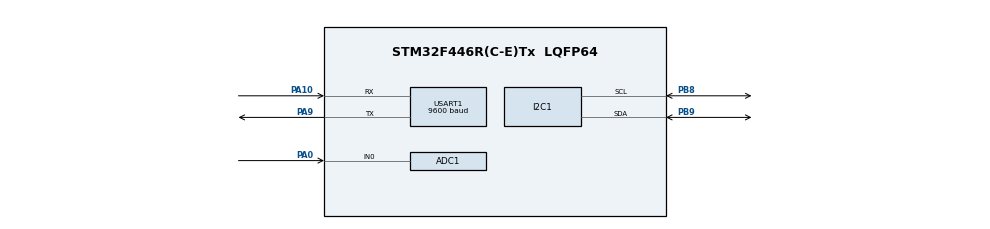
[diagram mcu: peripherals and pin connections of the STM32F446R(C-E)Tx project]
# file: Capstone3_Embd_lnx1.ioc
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ADC1.Channel-0\#ChannelRegularConversion=ADC_CHANNEL_0
ADC1.NbrOfConversionFlag=1
ADC1.Rank-0\#ChannelRegularConversion=1
ADC1.SamplingTime-0\#ChannelRegularConversion=ADC_SAMPLETIME_3CYCLES
ADC1.master=1
Mcu.Family=STM32F4
Mcu.Name=STM32F446R(C-E)Tx
Mcu.Package=LQFP64
NVIC.PriorityGroup=NVIC_PRIORITYGROUP_4
PA0-WKUP.Signal=ADCx_IN0
PA10.Mode=Asynchronous
PA10.Signal=USART1_RX
PA13.Mode=Serial_Wire
PA13.Signal=SYS_JTMS-SWDIO
PA14.Mode=Serial_Wire
PA14.Signal=SYS_JTCK-SWCLK
PA9.Mode=Asynchronous
PA9.Signal=USART1_TX
PB8.GPIO_Pu=GPIO_PULLUP
PB8.Mode=I2C
PB8.Signal=I2C1_SCL
PB9.GPIO_Pu=GPIO_PULLUP
PB9.Mode=I2C
PB9.Signal=I2C1_SDA
ProjectManager.HeapSize=0x200
ProjectManager.StackSize=0x400
ProjectManager.TargetToolchain=STM32CubeIDE
RCC.CortexFreq_Value=16000000
RCC.USBFreq_Value=96000000
RCC.VCOOutputFreq_Value=192000000
SH.ADCx_IN0.0=ADC1_IN0,IN0
USART1.BaudRate=9600
USART1.VirtualMode=VM_ASYNC
board=custom

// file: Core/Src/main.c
/* USER CODE BEGIN Header */
/**
  ******************************************************************************
  * @file           : main.c
  * @brief          : Main program body
  ******************************************************************************
  * @attention
  *
  * Copyright (c) 2026 STMicroelectronics.
  * All rights reserved.
  *
  * This software is licensed under terms that can be found in the LICENSE file
  * in the root directory of this software component.
  * If no LICENSE file comes with this software, it is provided AS-IS.
  *
  ******************************************************************************
  */
/* USER CODE END Header */
#include "main.h"

/* USER CODE BEGIN Includes */
#include <stdio.h>
#include <math.h>
#include <string.h>

/* USER CODE END Includes */

ADC_HandleTypeDef hadc1;

I2C_HandleTypeDef hi2c1;

UART_HandleTypeDef huart1;

/* USER CODE BEGIN PV */
#define INA219_ADDR (0x40 << 1)   // HAL uses 8-bit address

/* USER CODE END PV */

void SystemClock_Config(void);
static void MX_GPIO_Init(void);
static void MX_ADC1_Init(void);
static void MX_I2C1_Init(void);
static void MX_USART1_UART_Init(void);
/* USER CODE BEGIN PFP */

float Read_Temperature(void);
void INA219_Init(void);
void INA219_Read(float *voltage, float *current);

/* USER CODE END PFP */

int main(void)
{

  /* MCU Configuration--------------------------------------------------------*/

  /* Reset of all peripherals, Initializes the Flash interface and the Systick. */
  HAL_Init();

  /* Configure the system clock */
  SystemClock_Config();

  /* Initialize all configured peripherals */
  MX_GPIO_Init();
  MX_ADC1_Init();
  MX_I2C1_Init();
  MX_USART1_UART_Init();
  /* USER CODE BEGIN 2 */

  INA219_Init();

  char uart_buf[100];

  /* USER CODE END 2 */

  /* Infinite loop */
  while (1)
  {

    /* USER CODE BEGIN 3 */

	    float temp = Read_Temperature();

	    float voltage = 0, current = 0;
	    INA219_Read(&voltage, &current);

	    /* Format string */
	    sprintf(uart_buf, "TEMP:%.1f,CURR:%.2f,VOLT:%.2f\r\n",
	            temp, current, voltage);

	    /* Send via UART */
	    HAL_UART_Transmit(&huart1, (uint8_t *)uart_buf,
	                      strlen(uart_buf), HAL_MAX_DELAY);

	    HAL_Delay(1000);
  }
  /* USER CODE END 3 */
}

void SystemClock_Config(void)
{
  RCC_OscInitTypeDef RCC_OscInitStruct = {0};
  RCC_ClkInitTypeDef RCC_ClkInitStruct = {0};

  /** Configure the main internal regulator output voltage
  */
  __HAL_RCC_PWR_CLK_ENABLE();
  __HAL_PWR_VOLTAGESCALING_CONFIG(PWR_REGULATOR_VOLTAGE_SCALE3);

  /** Initializes the RCC Oscillators according to the specified parameters
  * in the RCC_OscInitTypeDef structure.
  */
  RCC_OscInitStruct.OscillatorType = RCC_OSCILLATORTYPE_HSI;
  RCC_OscInitStruct.HSIState = RCC_HSI_ON;
  RCC_OscInitStruct.HSICalibrationValue = RCC_HSICALIBRATION_DEFAULT;
  RCC_OscInitStruct.PLL.PLLState = RCC_PLL_NONE;
  if (HAL_RCC_OscConfig(&RCC_OscInitStruct) != HAL_OK)
  {
    Error_Handler();
  }

  /** Initializes the CPU, AHB and APB buses clocks
  */
  RCC_ClkInitStruct.ClockType = RCC_CLOCKTYPE_HCLK|RCC_CLOCKTYPE_SYSCLK
                              |RCC_CLOCKTYPE_PCLK1|RCC_CLOCKTYPE_PCLK2;
  RCC_ClkInitStruct.SYSCLKSource = RCC_SYSCLKSOURCE_HSI;
  RCC_ClkInitStruct.AHBCLKDivider = RCC_SYSCLK_DIV1;
  RCC_ClkInitStruct.APB1CLKDivider = RCC_HCLK_DIV1;
  RCC_ClkInitStruct.APB2CLKDivider = RCC_HCLK_DIV1;

  if (HAL_RCC_ClockConfig(&RCC_ClkInitStruct, FLASH_LATENCY_0) != HAL_OK)
  {
    Error_Handler();
  }
}

static void MX_ADC1_Init(void)
{

  ADC_ChannelConfTypeDef sConfig = {0};

  /** Configure the global features of the ADC (Clock, Resolution, Data Alignment and number of conversion)
  */
  hadc1.Instance = ADC1;
  hadc1.Init.ClockPrescaler = ADC_CLOCK_SYNC_PCLK_DIV2;
  hadc1.Init.Resolution = ADC_RESOLUTION_12B;
  hadc1.Init.ScanConvMode = DISABLE;
  hadc1.Init.ContinuousConvMode = DISABLE;
  hadc1.Init.DiscontinuousConvMode = DISABLE;
  hadc1.Init.ExternalTrigConvEdge = ADC_EXTERNALTRIGCONVEDGE_NONE;
  hadc1.Init.ExternalTrigConv = ADC_SOFTWARE_START;
  hadc1.Init.DataAlign = ADC_DATAALIGN_RIGHT;
  hadc1.Init.NbrOfConversion = 1;
  hadc1.Init.DMAContinuousRequests = DISABLE;
  hadc1.Init.EOCSelection = ADC_EOC_SINGLE_CONV;
  if (HAL_ADC_Init(&hadc1) != HAL_OK)
  {
    Error_Handler();
  }

  /** Configure for the selected ADC regular channel its corresponding rank in the sequencer and its sample time.
  */
  sConfig.Channel = ADC_CHANNEL_0;
  sConfig.Rank = 1;
  sConfig.SamplingTime = ADC_SAMPLETIME_3CYCLES;
  if (HAL_ADC_ConfigChannel(&hadc1, &sConfig) != HAL_OK)
  {
    Error_Handler();
  }

}

static void MX_I2C1_Init(void)
{

  hi2c1.Instance = I2C1;
  hi2c1.Init.ClockSpeed = 100000;
  hi2c1.Init.DutyCycle = I2C_DUTYCYCLE_2;
  hi2c1.Init.OwnAddress1 = 0;
  hi2c1.Init.AddressingMode = I2C_ADDRESSINGMODE_7BIT;
  hi2c1.Init.DualAddressMode = I2C_DUALADDRESS_DISABLE;
  hi2c1.Init.OwnAddress2 = 0;
  hi2c1.Init.GeneralCallMode = I2C_GENERALCALL_DISABLE;
  hi2c1.Init.NoStretchMode = I2C_NOSTRETCH_DISABLE;
  if (HAL_I2C_Init(&hi2c1) != HAL_OK)
  {
    Error_Handler();
  }

}

static void MX_USART1_UART_Init(void)
{

  huart1.Instance = USART1;
  huart1.Init.BaudRate = 9600;
  huart1.Init.WordLength = UART_WORDLENGTH_8B;
  huart1.Init.StopBits = UART_STOPBITS_1;
  huart1.Init.Parity = UART_PARITY_NONE;
  huart1.Init.Mode = UART_MODE_TX_RX;
  huart1.Init.HwFlowCtl = UART_HWCONTROL_NONE;
  huart1.Init.OverSampling = UART_OVERSAMPLING_16;
  if (HAL_UART_Init(&huart1) != HAL_OK)
  {
    Error_Handler();
  }

}

static void MX_GPIO_Init(void)
{

  /* GPIO Ports Clock Enable */
  __HAL_RCC_GPIOA_CLK_ENABLE();
  __HAL_RCC_GPIOB_CLK_ENABLE();

}

/* USER CODE BEGIN 4 */

/* ================= TEMPERATURE FUNCTION ================= */
float Read_Temperature(void)
{
    uint32_t adc_val = 0;

    HAL_ADC_Start(&hadc1);
    HAL_ADC_PollForConversion(&hadc1, HAL_MAX_DELAY);
    adc_val = HAL_ADC_GetValue(&hadc1);
    HAL_ADC_Stop(&hadc1);

    /* Convert ADC to voltage */
    float V = (adc_val / 4095.0f) * 3.3f;

    /* Calculate NTC resistance */
    float R_ntc = 10000.0f * V / (3.3f - V);

    /* Steinhart-Hart Beta equation */
    float T_K = 1.0f / ( (1.0f/298.15f) +
              (1.0f/3950.0f) * log(R_ntc/10000.0f) );// T= 1/ (1/T0) + (1/b)*ln(r/r0)

    return (T_K - 273.15f);
}

/* ================= INA219 INIT ================= */
void INA219_Init(void)
{
    uint8_t config[3];

    config[0] = 0x00; // Config register
    config[1] = 0x39; // 32V, 2A (approx config)
    config[2] = 0x9F;

    HAL_I2C_Master_Transmit(&hi2c1, INA219_ADDR,
                            config, 3, HAL_MAX_DELAY);
}

/* ================= INA219 READ ================= */
void INA219_Read(float *voltage, float *current)
{
    uint8_t reg;//which register to read
    uint8_t data[2];//stores 2 bytes from sensor
    int16_t raw;

    /* ---- Read Bus Voltage (0x02) ---- */
    reg = 0x02;
    HAL_I2C_Master_Transmit(&hi2c1, INA219_ADDR, &reg, 1, HAL_MAX_DELAY);
    HAL_I2C_Master_Receive(&hi2c1, INA219_ADDR, data, 2, HAL_MAX_DELAY);

    raw = (data[0] << 8) | data[1];
    raw >>= 3;

    *voltage = raw * 0.004f; // 4mV per bit

    /* ---- Read Shunt Voltage (0x01) ---- */
    reg = 0x01;
    HAL_I2C_Master_Transmit(&hi2c1, INA219_ADDR, &reg, 1, HAL_MAX_DELAY);
    HAL_I2C_Master_Receive(&hi2c1, INA219_ADDR, data, 2, HAL_MAX_DELAY);

    raw = (data[0] << 8) | data[1];

    float shunt_voltage = raw * 0.00001f; // 10uV per bit

    /* Assume shunt resistor = 0.1 ohm */
//    *current =fabs(shunt_voltage / 0.1f);
    *current = fabs((shunt_voltage / 0.1f) * 1000.0f);//in mA
}

/* USER CODE END 4 */

void Error_Handler(void)
{
  __disable_irq();
  while (1)
  {
  }
}
